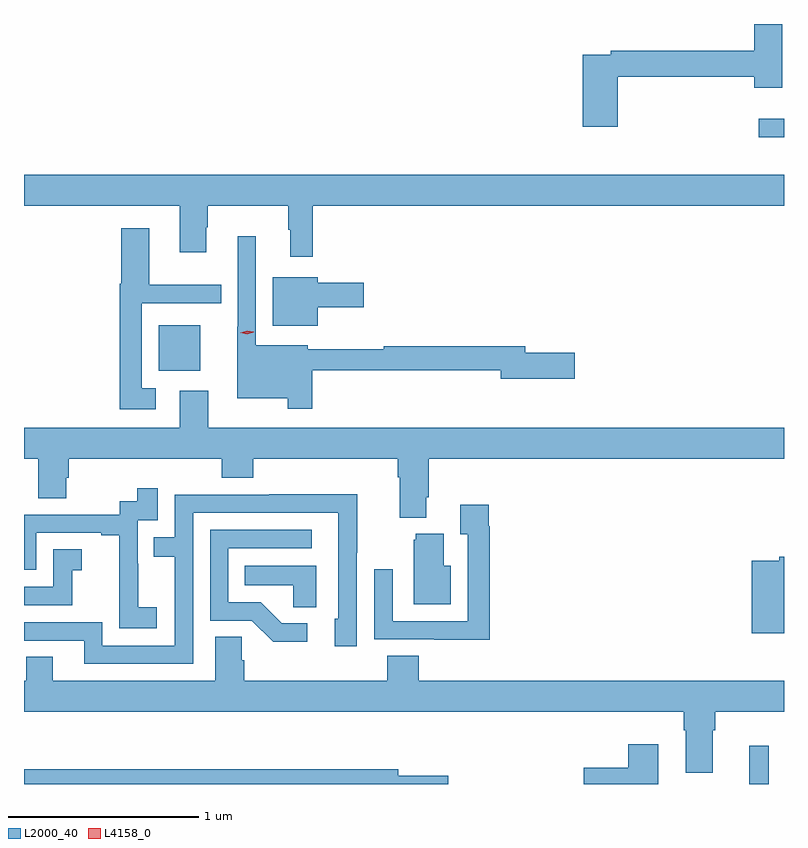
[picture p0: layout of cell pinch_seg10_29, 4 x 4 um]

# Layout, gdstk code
import gdstk
lib = gdstk.Library(unit=1e-6, precision=1e-09)
def R(c, l, rs):  # rectangles x0, y0, x1, y1
    for r in rs: c.add(gdstk.rectangle(r[:2], r[2:], *l))
def P(c, l, *ps):  # polygons
    for p in ps: c.add(gdstk.Polygon(p, *l))
L2000_40 = (2000, 40)
L4158_0 = (4158, 0)

pinch_seg10_29 = lib.new_cell('pinch_seg10_29')
R(pinch_seg10_29, L2000_40, [(938.102,1271.965,938.204,1272.166), (934.994,1274.141,935.212,1274.38), (938.151,1275.368,938.285,1275.466)])
P(pinch_seg10_29, L2000_40, [(937.409,1275.688),(938.129,1275.688),(938.129,1275.63),(938.275,1275.63),(938.275,1275.965),(938.129,1275.965),(938.129,1275.824),(937.372,1275.824),(937.372,1275.804),(937.226,1275.804),(937.226,1275.423),(937.409,1275.423)],
  [(935.804,1275.008),(938.285,1275.008),(938.285,1275.172),(934.285,1275.172),(934.285,1275.008),(935.105,1275.008),(935.105,1274.763),(935.245,1274.763),(935.245,1274.894),(935.253,1274.894),(935.253,1275.008),(935.676,1275.008),(935.676,1274.882),(935.687,1274.882),(935.687,1274.739),(935.804,1274.739)],
  [(934.978,1274.047),(934.905,1274.047),(934.905,1274.496),(935.324,1274.496),(935.324,1274.593),(934.945,1274.593),(934.945,1274.89),(934.796,1274.89),(934.796,1274.599),(934.789,1274.599),(934.789,1273.938),(934.978,1273.938)],
  [(935.801,1274.142),(936.794,1274.142),(936.794,1274.099),(937.183,1274.099),(937.183,1274.234),(936.922,1274.234),(936.922,1274.27),(936.178,1274.27),(936.178,1274.253),(935.778,1274.253),(935.778,1274.275),(935.505,1274.275),(935.505,1274.848),(935.409,1274.848),(935.409,1274.371),(935.408,1274.371),(935.408,1273.994),(935.673,1273.994),(935.673,1273.941),(935.801,1273.941)],
  [(935.83,1274.474),(936.073,1274.474),(936.073,1274.604),(935.83,1274.604),(935.83,1274.632),(935.594,1274.632),(935.594,1274.378),(935.83,1274.378)],
  [(936.403,1273.474),(936.416,1273.474),(936.416,1273.676),(938.285,1273.676),(938.285,1273.84),(935.254,1273.84),(935.254,1274.035),(935.105,1274.035),(935.105,1273.84),(934.285,1273.84),(934.285,1273.676),(934.36,1273.676),(934.36,1273.468),(934.507,1273.468),(934.507,1273.578),(934.52,1273.578),(934.52,1273.676),(935.327,1273.676),(935.327,1273.577),(935.492,1273.577),(935.492,1273.676),(936.251,1273.676),(936.251,1273.58),(936.263,1273.58),(936.263,1273.367),(936.403,1273.367)],
  [(934.984,1272.895),(934.886,1272.895),(934.886,1273.124),(934.884,1273.124),(934.884,1273.353),(934.989,1273.353),(934.989,1273.522),(934.881,1273.522),(934.881,1273.452),(934.788,1273.452),(934.788,1273.383),(934.285,1273.383),(934.285,1273.092),(934.35,1273.092),(934.35,1273.287),(934.691,1273.287),(934.691,1273.275),(934.787,1273.275),(934.787,1272.991),(934.786,1272.991),(934.786,1272.785),(934.984,1272.785)],
  [(935.175,1273.392),(935.94,1273.392),(935.94,1272.834),(935.921,1272.834),(935.921,1272.69),(936.036,1272.69),(936.036,1273.183),(936.039,1273.183),(936.039,1273.49),(935.575,1273.49),(935.575,1273.488),(935.079,1273.488),(935.079,1273.263),(934.969,1273.263),(934.969,1273.162),(935.079,1273.162),(935.079,1272.693),(934.698,1272.693),(934.698,1272.816),(934.285,1272.816),(934.285,1272.72),(934.601,1272.72),(934.601,1272.597),(935.175,1272.597)],
  [(936.737,1273.322),(936.73,1273.322),(936.73,1273.435),(936.581,1273.435),(936.581,1273.279),(936.621,1273.279),(936.621,1272.822),(936.225,1272.822),(936.225,1273.096),(936.129,1273.096),(936.129,1272.726),(936.445,1272.726),(936.445,1272.725),(936.737,1272.725)],
  [(935.776,1272.81),(935.641,1272.81),(935.53,1272.921),(935.361,1272.921),(935.361,1273.206),(935.8,1273.206),(935.8,1273.302),(935.265,1273.302),(935.265,1272.825),(935.484,1272.825),(935.597,1272.713),(935.776,1272.713)],
  [(936.532,1273.114),(936.493,1273.114),(936.493,1273.282),(936.347,1273.282),(936.347,1273.251),(936.335,1273.251),(936.335,1272.911),(936.532,1272.911)],
  [(934.539,1273.091),(934.588,1273.091),(934.588,1273.201),(934.44,1273.201),(934.44,1273.002),(934.285,1273.002),(934.285,1272.906),(934.539,1272.906)],
  [(938.285,1273.16),(938.26,1273.16),(938.26,1273.14),(938.114,1273.14),(938.114,1272.759),(938.285,1272.759)],
  [(935.824,1273.114),(935.446,1273.114),(935.446,1273.01),(935.703,1273.01),(935.703,1272.895),(935.824,1272.895)],
  [(937.909,1272.248),(937.922,1272.248),(937.922,1272.344),(938.285,1272.344),(938.285,1272.508),(936.362,1272.508),(936.362,1272.641),(936.197,1272.641),(936.197,1272.508),(935.444,1272.508),(935.444,1272.617),(935.43,1272.617),(935.43,1272.74),(935.291,1272.74),(935.291,1272.508),(934.435,1272.508),(934.435,1272.635),(934.296,1272.635),(934.296,1272.508),(934.285,1272.508),(934.285,1272.344),(937.757,1272.344),(937.757,1272.248),(937.769,1272.248),(937.769,1272.024),(937.909,1272.024)],
  [(937.624,1272.175),(937.466,1272.175),(937.466,1272.051),(937.23,1272.051),(937.23,1271.965),(937.624,1271.965)],
  [(936.517,1272.009),(936.256,1272.009),(936.256,1272.043),(934.285,1272.043),(934.285,1271.965),(936.517,1271.965)])
P(pinch_seg10_29, L4158_0, [(935.46,1274.331),(935.424,1274.339),(935.424,1274.339),(935.424,1274.34),(935.459,1274.351),(935.495,1274.344),(935.495,1274.343),(935.495,1274.343)])

lib.write_gds('pinch_seg10_29.gds')
